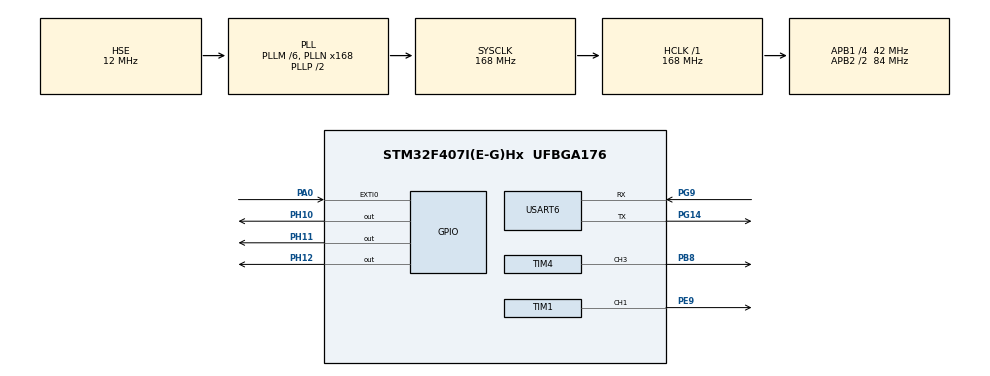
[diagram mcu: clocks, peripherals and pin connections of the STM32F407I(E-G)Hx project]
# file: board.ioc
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Mcu.Family=STM32F4
Mcu.Name=STM32F407I(E-G)Hx
Mcu.Package=UFBGA176
NVIC.EXTI0_IRQn=true\:0\:0\:false\:false\:true\:true\:true\:true
NVIC.PriorityGroup=NVIC_PRIORITYGROUP_4
PA0-WKUP.GPIO_PuPd=GPIO_PULLDOWN
PA0-WKUP.Signal=GPXTI0
PA13.Mode=Serial_Wire
PA13.Signal=SYS_JTMS-SWDIO
PA14.Mode=Serial_Wire
PA14.Signal=SYS_JTCK-SWCLK
PB8.Signal=S_TIM4_CH3
PE9.Signal=S_TIM1_CH1
PG14.Mode=Asynchronous
PG14.Signal=USART6_TX
PG9.Mode=Asynchronous
PG9.Signal=USART6_RX
PH0-OSC_IN.Mode=HSE-External-Oscillator
PH0-OSC_IN.Signal=RCC_OSC_IN
PH1-OSC_OUT.Mode=HSE-External-Oscillator
PH1-OSC_OUT.Signal=RCC_OSC_OUT
PH10.Signal=GPIO_Output
PH11.PinState=GPIO_PIN_SET
PH11.Signal=GPIO_Output
PH12.Signal=GPIO_Output
ProjectManager.HeapSize=0x200
ProjectManager.StackSize=0x400
ProjectManager.TargetToolchain=CMake
RCC.48MHZClocksFreq_Value=84000000
RCC.AHBFreq_Value=168000000
RCC.APB1CLKDivider=RCC_HCLK_DIV4
RCC.APB1Freq_Value=42000000
RCC.APB1TimFreq_Value=84000000
RCC.APB2CLKDivider=RCC_HCLK_DIV2
RCC.APB2Freq_Value=84000000
RCC.APB2TimFreq_Value=168000000
RCC.CortexFreq_Value=168000000
RCC.HCLKFreq_Value=168000000
RCC.HSE_VALUE=12000000
RCC.HSI_VALUE=16000000
RCC.LSE_VALUE=32768
RCC.PLLM=6
RCC.PLLN=168
RCC.PLLSourceVirtual=RCC_PLLSOURCE_HSE
RCC.SYSCLKFreq_VALUE=168000000
RCC.SYSCLKSource=RCC_SYSCLKSOURCE_PLLCLK
RCC.VCOOutputFreq_Value=336000000
SH.S_TIM1_CH1.0=TIM1_CH1,PWM Generation1 CH1
SH.S_TIM4_CH3.0=TIM4_CH3,PWM Generation3 CH3
TIM1.Channel-PWM\ Generation1\ CH1=TIM_CHANNEL_1
TIM1.Period=20000-1
TIM1.Prescaler=168-1
TIM1.Pulse-PWM\ Generation1\ CH1=500
TIM4.Channel-PWM\ Generation3\ CH3=TIM_CHANNEL_3
TIM4.Prescaler=84-1
USART6.VirtualMode=VM_ASYNC
VP_TIM1_VS_ClockSourceINT.Mode=Internal
board=custom

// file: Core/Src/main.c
/* USER CODE BEGIN Header */
/**
  ******************************************************************************
  * @file           : main.c
  * @brief          : Main program body
  ******************************************************************************
  * @attention
  *
  * Copyright (c) 2026 STMicroelectronics.
  * All rights reserved.
  *
  * This software is licensed under terms that can be found in the LICENSE file
  * in the root directory of this software component.
  * If no LICENSE file comes with this software, it is provided AS-IS.
  *
  ******************************************************************************
  */
/* USER CODE END Header */
#include "main.h"
#include "tim.h"
#include "usart.h"
#include "gpio.h"

/* USER CODE BEGIN Includes */
#include <string.h>
/* USER CODE END Includes */

void SystemClock_Config(void);

/* USER CODE BEGIN 0 */

int brightness = 1, step = 1;

/* USER CODE END 0 */

int main(void)
{

  /* MCU Configuration--------------------------------------------------------*/

  /* Reset of all peripherals, Initializes the Flash interface and the Systick. */
  HAL_Init();

  /* Configure the system clock */
  SystemClock_Config();

  /* Initialize all configured peripherals */
  MX_GPIO_Init();
  MX_TIM1_Init();
  MX_TIM4_Init();
  MX_USART6_UART_Init();
  /* USER CODE BEGIN 2 */

  char message[] = "Hello world";
  char receiveData[2];
  HAL_UART_Transmit(&huart6, (uint8_t*)message, strlen(message), 100);
  /* USER CODE END 2 */

  /* Infinite loop */
  /* USER CODE BEGIN WHILE */
  while (1)
  {
    HAL_UART_Receive(&huart6, (uint8_t*)receiveData, 2, HAL_MAX_DELAY);
    HAL_UART_Transmit(&huart6, (uint8_t*)receiveData, 2, 100);
    GPIO_PinState state = GPIO_PIN_SET;
    if(receiveData[1] == '0'){
      state = GPIO_PIN_RESET;
    }
    if(receiveData[0] == 'R'){
      HAL_GPIO_WritePin(GPIOH, GPIO_PIN_12, state);
    }else if(receiveData[0] == 'G'){
      HAL_GPIO_WritePin(GPIOH, GPIO_PIN_11, state);
    }else if(receiveData[0] == 'B'){
      HAL_GPIO_WritePin(GPIOH, GPIO_PIN_10, state);
    }
    /* USER CODE END WHILE */

    /* USER CODE BEGIN 3 */
    HAL_Delay(1000);
  }
  /* USER CODE END 3 */
}

void SystemClock_Config(void)
{
  RCC_OscInitTypeDef RCC_OscInitStruct = {0};
  RCC_ClkInitTypeDef RCC_ClkInitStruct = {0};

  /** Configure the main internal regulator output voltage
  */
  __HAL_RCC_PWR_CLK_ENABLE();
  __HAL_PWR_VOLTAGESCALING_CONFIG(PWR_REGULATOR_VOLTAGE_SCALE1);

  /** Initializes the RCC Oscillators according to the specified parameters
  * in the RCC_OscInitTypeDef structure.
  */
  RCC_OscInitStruct.OscillatorType = RCC_OSCILLATORTYPE_HSE;
  RCC_OscInitStruct.HSEState = RCC_HSE_ON;
  RCC_OscInitStruct.PLL.PLLState = RCC_PLL_ON;
  RCC_OscInitStruct.PLL.PLLSource = RCC_PLLSOURCE_HSE;
  RCC_OscInitStruct.PLL.PLLM = 6;
  RCC_OscInitStruct.PLL.PLLN = 168;
  RCC_OscInitStruct.PLL.PLLP = RCC_PLLP_DIV2;
  RCC_OscInitStruct.PLL.PLLQ = 4;
  if (HAL_RCC_OscConfig(&RCC_OscInitStruct) != HAL_OK)
  {
    Error_Handler();
  }

  /** Initializes the CPU, AHB and APB buses clocks
  */
  RCC_ClkInitStruct.ClockType = RCC_CLOCKTYPE_HCLK|RCC_CLOCKTYPE_SYSCLK
                              |RCC_CLOCKTYPE_PCLK1|RCC_CLOCKTYPE_PCLK2;
  RCC_ClkInitStruct.SYSCLKSource = RCC_SYSCLKSOURCE_PLLCLK;
  RCC_ClkInitStruct.AHBCLKDivider = RCC_SYSCLK_DIV1;
  RCC_ClkInitStruct.APB1CLKDivider = RCC_HCLK_DIV4;
  RCC_ClkInitStruct.APB2CLKDivider = RCC_HCLK_DIV2;

  if (HAL_RCC_ClockConfig(&RCC_ClkInitStruct, FLASH_LATENCY_5) != HAL_OK)
  {
    Error_Handler();
  }
}

void Error_Handler(void)
{
  __disable_irq();
  while (1)
  {
  }
}
